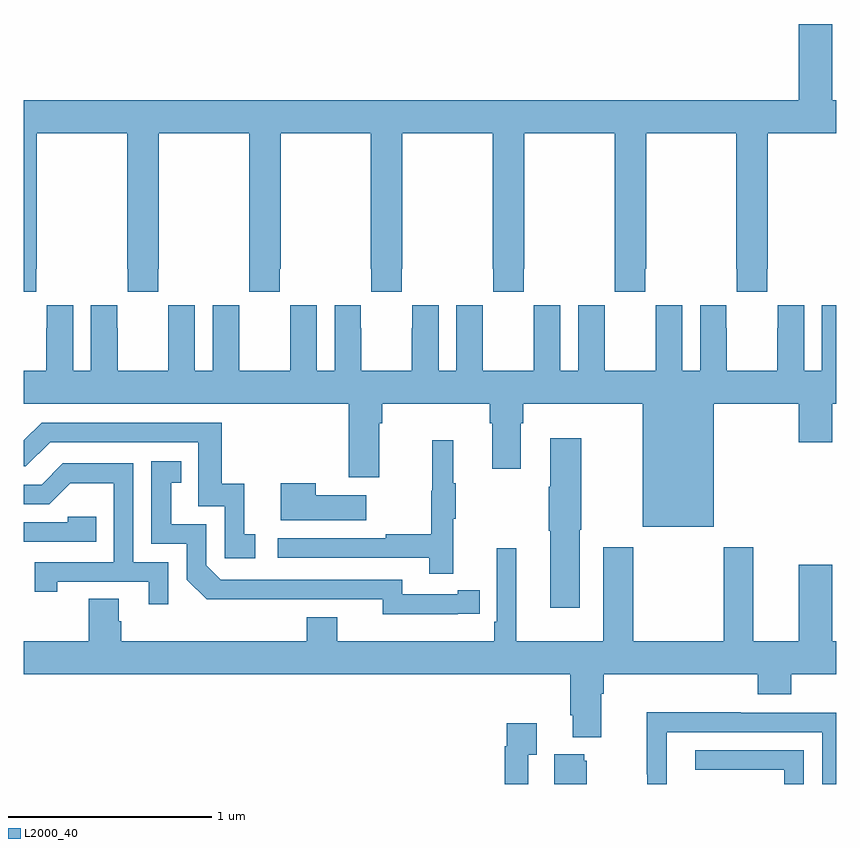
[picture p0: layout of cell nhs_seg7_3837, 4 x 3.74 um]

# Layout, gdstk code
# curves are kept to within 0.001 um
import gdstk
lib = gdstk.Library(unit=1e-6, precision=1e-09)
def P(c, l, *ps):  # polygons
    for p in ps: c.add(gdstk.Polygon(p, *l))
L2000_40 = (2000, 40)

nhs_seg7_3837 = lib.new_cell('nhs_seg7_3837')
P(nhs_seg7_3837, L2000_40, [(353,1078.425),(353.061,1078.425),(353.061,1078.537),(353.064,1078.537),(353.064,1079.204),(353.509,1079.204),(353.509,1078.537),(353.511,1078.537),(353.511,1078.425),(353.661,1078.425),(353.661,1078.537),(353.664,1078.537),(353.664,1079.204),(354.109,1079.204),(354.109,1078.537),(354.111,1078.537),(354.111,1078.425),(354.261,1078.425),(354.261,1078.537),(354.264,1078.537),(354.264,1079.204),(354.709,1079.204),(354.709,1078.537),(354.711,1078.537),(354.711,1078.425),(354.861,1078.425),(354.861,1078.537),(354.864,1078.537),(354.864,1079.204),(355.309,1079.204),(355.309,1078.537),(355.311,1078.537),(355.311,1078.425),(355.461,1078.425),(355.461,1078.537),(355.464,1078.537),(355.464,1079.204),(355.909,1079.204),(355.909,1078.537),(355.911,1078.537),(355.911,1078.425),(356.061,1078.425),(356.061,1078.537),(356.064,1078.537),(356.064,1079.204),(356.509,1079.204),(356.509,1078.537),(356.511,1078.537),(356.511,1078.425),(356.661,1078.425),(356.661,1078.537),(356.664,1078.537),(356.664,1079.204),(357,1079.204),(357,1079.368),(356.98,1079.368),(356.98,1079.743),(356.816,1079.743),(356.816,1079.368),(353,1079.368)],
  [(355.295,1077.776),(355.307,1077.776),(355.307,1077.552),(355.447,1077.552),(355.447,1077.776),(355.46,1077.776),(355.46,1077.872),(356.048,1077.872),(356.048,1077.266),(356.398,1077.266),(356.398,1077.872),(356.816,1077.872),(356.816,1077.684),(356.98,1077.684),(356.98,1077.872),(357,1077.872),(357,1078.357),(356.93,1078.357),(356.93,1078.036),(356.842,1078.036),(356.842,1078.357),(356.712,1078.357),(356.712,1078.244),(356.711,1078.244),(356.711,1078.036),(356.461,1078.036),(356.461,1078.244),(356.46,1078.244),(356.46,1078.357),(356.33,1078.357),(356.33,1078.036),(356.242,1078.036),(356.242,1078.357),(356.112,1078.357),(356.112,1078.244),(356.111,1078.244),(356.111,1078.036),(355.861,1078.036),(355.861,1078.244),(355.86,1078.244),(355.86,1078.357),(355.73,1078.357),(355.73,1078.036),(355.642,1078.036),(355.642,1078.357),(355.512,1078.357),(355.512,1078.244),(355.511,1078.244),(355.511,1078.036),(355.261,1078.036),(355.261,1078.244),(355.26,1078.244),(355.26,1078.357),(355.13,1078.357),(355.13,1078.036),(355.042,1078.036),(355.042,1078.357),(354.912,1078.357),(354.912,1078.244),(354.911,1078.244),(354.911,1078.036),(354.661,1078.036),(354.661,1078.244),(354.66,1078.244),(354.66,1078.357),(354.53,1078.357),(354.53,1078.036),(354.442,1078.036),(354.442,1078.357),(354.312,1078.357),(354.312,1078.244),(354.311,1078.244),(354.311,1078.036),(354.061,1078.036),(354.061,1078.244),(354.06,1078.244),(354.06,1078.357),(353.93,1078.357),(353.93,1078.036),(353.842,1078.036),(353.842,1078.357),(353.712,1078.357),(353.712,1078.244),(353.711,1078.244),(353.711,1078.036),(353.461,1078.036),(353.461,1078.244),(353.46,1078.244),(353.46,1078.357),(353.33,1078.357),(353.33,1078.036),(353.242,1078.036),(353.242,1078.357),(353.112,1078.357),(353.112,1078.244),(353.111,1078.244),(353.111,1078.036),(353,1078.036),(353,1077.872),(354.599,1077.872),(354.599,1077.51),(354.751,1077.51),(354.751,1077.776),(354.764,1077.776),(354.764,1077.872),(355.295,1077.872)],
  [(354.139,1077.231),(354.086,1077.231),(354.086,1077.478),(353.975,1077.478),(353.975,1077.78),(353.088,1077.78),(353,1077.692),(353,1077.564),(353.01,1077.564),(353.13,1077.684),(353.859,1077.684),(353.859,1077.369),(353.988,1077.369),(353.988,1077.111),(354.139,1077.111)],
  [(355.738,1077.253),(355.746,1077.253),(355.746,1077.703),(355.592,1077.703),(355.592,1077.464),(355.585,1077.464),(355.585,1077.247),(355.592,1077.247),(355.592,1076.868),(355.738,1076.868)],
  [(355.115,1077.307),(355.126,1077.307),(355.126,1077.481),(355.115,1077.481),(355.115,1077.694),(355.012,1077.694),(355.012,1077.444),(355.005,1077.444),(355.005,1077.23),(354.781,1077.23),(354.781,1077.21),(354.249,1077.21),(354.249,1077.114),(354.997,1077.114),(354.997,1077.036),(355.115,1077.036)],
  [(355.136,1076.838),(355.244,1076.838),(355.244,1076.954),(355.136,1076.954),(355.136,1076.934),(354.864,1076.934),(354.864,1077.006),(353.97,1077.006),(353.898,1077.078),(353.898,1077.279),(353.725,1077.279),(353.725,1077.483),(353.774,1077.483),(353.774,1077.589),(353.628,1077.589),(353.628,1077.183),(353.802,1077.183),(353.802,1077.006),(353.9,1076.909),(354.768,1076.91),(354.768,1076.837)],
  [(353.712,1077.093),(353.538,1077.093),(353.538,1077.579),(353.192,1077.579),(353.087,1077.474),(353,1077.474),(353,1077.378),(353.124,1077.378),(353.228,1077.482),(353.442,1077.482),(353.442,1077.093),(353.053,1077.093),(353.053,1076.946),(353.164,1076.946),(353.164,1076.997),(353.615,1076.997),(353.615,1076.886),(353.712,1076.886)],
  [(354.685,1077.421),(354.437,1077.421),(354.437,1077.481),(354.266,1077.481),(354.266,1077.299),(354.685,1077.299)],
  [(353.357,1077.315),(353.217,1077.315),(353.217,1077.288),(353,1077.288),(353,1077.192),(353.357,1077.192)],
  [(355.843,1076.444),(355.856,1076.444),(355.856,1076.54),(356.615,1076.54),(356.615,1076.441),(356.78,1076.441),(356.78,1076.54),(357,1076.54),(357,1076.704),(356.98,1076.704),(356.98,1077.079),(356.816,1077.079),(356.816,1076.704),(356.593,1076.704),(356.593,1077.166),(356.446,1077.166),(356.446,1076.704),(356.001,1076.704),(356.001,1077.166),(355.853,1077.166),(355.853,1076.704),(355.426,1076.704),(355.426,1077.16),(355.329,1077.16),(355.329,1076.8),(355.316,1076.8),(355.316,1076.704),(354.544,1076.704),(354.544,1076.821),(354.392,1076.821),(354.392,1076.704),(353.48,1076.704),(353.48,1076.802),(353.467,1076.802),(353.467,1076.912),(353.32,1076.912),(353.32,1076.704),(353,1076.704),(353,1076.54),(355.691,1076.54),(355.691,1076.338),(355.703,1076.338),(355.703,1076.231),(355.843,1076.231)],
  [(356.166,1076.256),(356.931,1076.256),(356.931,1076),(357,1076),(357,1076.352),(356.531,1076.352),(356.531,1076.354),(356.068,1076.354),(356.068,1076.047),(356.07,1076.047),(356.07,1076),(356.166,1076)],
  [(355.485,1076.143),(355.525,1076.143),(355.525,1076.299),(355.377,1076.299),(355.377,1076.186),(355.369,1076.186),(355.369,1076),(355.485,1076)],
  [(356.841,1076.166),(356.307,1076.166),(356.307,1076.07),(356.745,1076.07),(356.745,1076),(356.841,1076)],
  [(355.771,1076.115),(355.76,1076.115),(355.76,1076.146),(355.613,1076.146),(355.613,1076),(355.771,1076)])

lib.write_gds('nhs_seg7_3837.gds')
